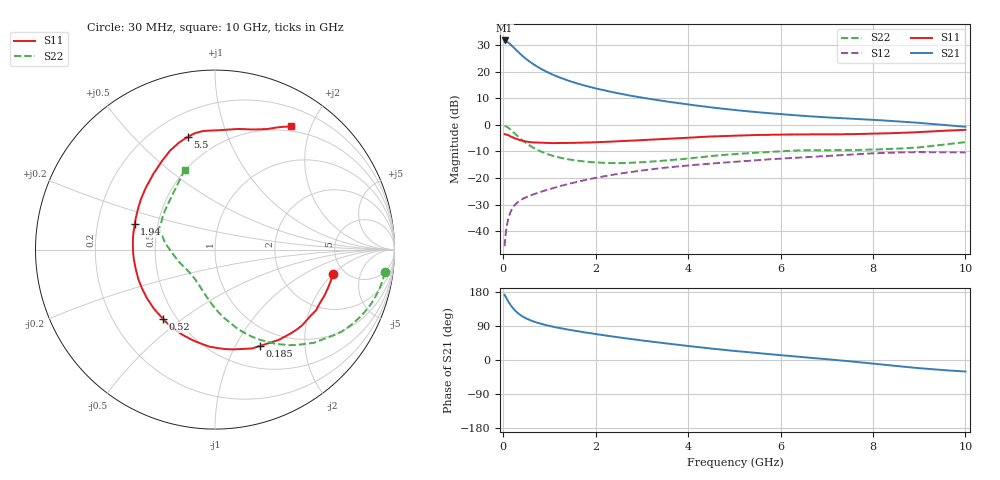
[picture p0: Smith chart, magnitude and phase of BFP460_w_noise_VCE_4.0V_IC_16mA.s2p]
! (c) 2016  Infineon Technologies AG, Munich
! Infineon Technologies  Discrete & RF Semiconductors
! BFP460
! VCE =  4.0 V,  IC =  16 mA
! Common Emitter S-Parameters:  Jan 2016
# GHz  S  MA  R  50
!  f  S11  S21  S12  S22
! GHz  MAG  ANG  MAG  ANG  MAG  ANG  MAG  ANG
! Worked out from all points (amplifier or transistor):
!   229 points, 30 MHz to 10 GHz, reference 50 ohm
!   highest |S21| = 31.8 dB at 30 MHz (marker M1)
!   |S21| within 3 dB of that: start of sweep to 246.6 MHz
!   unconditionally stable (mu >= 1): 2.025 GHz to 7.684 GHz
!   at 280 MHz: K = 0.37, MSG = 28.9 dB, |S12| = -29.6 dB
!   at 1.78 GHz: K = 0.98, MSG = 17.7 dB, |S12| = -20.7 dB
!   at 10 GHz: K = 0.97, MSG = 4.8 dB, |S12| = -10.4 dB
!   lowest NFmin = 1.13 dB at 900 MHz
!   S11 on the Smith chart (normalised r, x): 30 MHz: 4.04, -1.98; 185 MHz: 0.76, -1.26; 520 MHz: 0.42, -0.43; 1.94 GHz: 0.37, +0.13; 5.5 GHz: 0.34, +0.73; 10 GHz: 0.43, +1.71
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0.03  0.67 -11.6  38.99 172.2  0.0052 80.6  0.9552 -7.6
0.07  0.656 -27.1  37.67 162.5  0.0114 75.8  0.9286 -17.2
0.12  0.6355 -45.0  35.05 152.1  0.0185 69.9  0.87 -28.5
0.15  0.6158 -54.8  33.25 146.4  0.0221 66.4  0.8283 -34.5
0.185  0.5923 -65.0  31.12 140.8  0.0256 62.5  0.7759 -40.6
0.2  0.5882 -69.5  30.31 138.1  0.0271 61.2  0.7564 -43.4
0.26  0.5566 -84.5  26.89 130.0  0.0317 57.0  0.6748 -52.1
0.34  0.5253 -100.8  22.98 121.5  0.0365 53.4  0.5815 -61.4
0.42  0.5021 -114.0  19.84 114.8  0.0403 51.3  0.508 -68.9
0.52  0.4826 -126.8  16.84 108.5  0.0443 50.2  0.4379 -76.1
0.7  0.4658 -144.5  13.04 99.7  0.0509 49.9  0.3518 -86.5
0.9  0.4581 -158.1  10.4 92.8  0.0581 50.6  0.2943 -95.1
1.3  0.4563 -177.0  7.367 82.5  0.073 51.7  0.2346 -108.1
1.7  0.4635 169.3  5.701 74.2  0.0886 51.6  0.2072 -118.6
1.94  0.4696 162.4  5.024 69.7  0.0981 51.0  0.1982 -124.4
2.6  0.4979 146.2  3.767 58.0  0.1239 47.9  0.1913 -141.3
3.4  0.5383 130.6  2.878 45.7  0.1529 42.5  0.2096 -159.9
5.1  0.6325 107.5  1.874 22.9  0.2047 31.1  0.2862 170.4
5.5  0.6466 103.6  1.735 18.3  0.2172 28.6  0.2995 166.5
6.8  0.6632 92.6  1.423 4.3  0.2539 19.6  0.3336 158.3
8.4  0.6982 73.6  1.188 -14.5  0.3006 6.0  0.3533 142.3
10  0.8075 58.2  0.923 -30.4  0.3032 -6.4  0.4737 110.9
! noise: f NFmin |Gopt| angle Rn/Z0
0.45  1.15  0.02  -171  0.12
0.9  1.13  0.05  97  0.15
1.9  1.29  0.14  -157  0.12
3.5  1.26  0.38  -127  0.14
